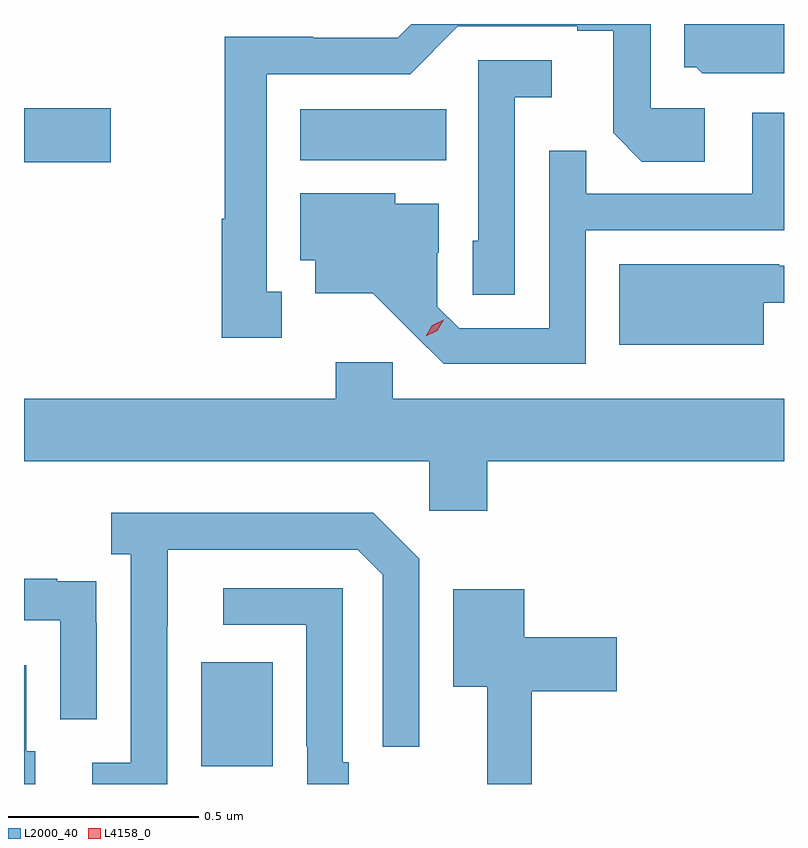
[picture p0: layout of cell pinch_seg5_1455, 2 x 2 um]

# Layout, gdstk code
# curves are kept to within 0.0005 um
import gdstk
lib = gdstk.Library(unit=1e-6, precision=1e-09)
def R(c, l, rs):  # rectangles x0, y0, x1, y1
    for r in rs: c.add(gdstk.rectangle(r[:2], r[2:], *l))
def P(c, l, *ps):  # polygons
    for p in ps: c.add(gdstk.Polygon(p, *l))
L2000_40 = (2000, 40)
L4158_0 = (4158, 0)

pinch_seg5_1455 = lib.new_cell('pinch_seg5_1455')
R(pinch_seg5_1455, L2000_40, [(159.089,910.569,159.277,910.843), (158.623,912.158,158.851,912.3), (159.35,912.164,159.734,912.298)])
P(pinch_seg5_1455, L2000_40, [(160.542,912.393),(160.623,912.393),(160.623,912.522),(160.361,912.522),(160.361,912.408),(160.392,912.408),(160.408,912.392),(160.542,912.392)],
  [(159.301,911.817),(159.262,911.817),(159.262,912.39),(159.639,912.39),(159.765,912.516),(160.079,912.516),(160.079,912.504),(160.173,912.504),(160.173,912.236),(160.249,912.16),(160.414,912.16),(160.414,912.3),(160.272,912.3),(160.272,912.522),(159.642,912.522),(159.606,912.486),(159.384,912.486),(159.384,912.488),(159.151,912.488),(159.151,912.009),(159.144,912.009),(159.144,911.697),(159.301,911.697)],
  [(159.915,912.329),(160.012,912.329),(160.012,912.426),(159.819,912.426),(159.819,911.952),(159.804,911.952),(159.804,911.809),(159.915,911.809)],
  [(160.101,911.979),(160.623,911.979),(160.623,912.289),(160.539,912.289),(160.539,912.075),(160.103,912.075),(160.103,912.188),(160.005,912.188),(160.005,911.721),(159.768,911.721),(159.711,911.778),(159.711,911.92),(159.715,911.92),(159.715,912.049),(159.6,912.049),(159.6,912.076),(159.35,912.076),(159.35,911.9),(159.389,911.9),(159.389,911.813),(159.541,911.813),(159.728,911.628),(160.101,911.628)],
  [(160.57,911.789),(160.623,911.789),(160.623,911.886),(160.61,911.886),(160.61,911.89),(160.19,911.89),(160.19,911.678),(160.57,911.678)],
  [(159.842,911.372),(160.623,911.372),(160.623,911.536),(159.594,911.536),(159.594,911.632),(159.443,911.632),(159.443,911.536),(158.623,911.536),(158.623,911.372),(159.69,911.372),(159.69,911.241),(159.842,911.241)],
  [(159,910.939),(159.001,910.939),(159.001,911.139),(159.501,911.139),(159.567,911.073),(159.567,910.62),(159.663,910.62),(159.663,911.115),(159.542,911.236),(158.853,911.236),(158.853,911.126),(158.904,911.126),(158.904,910.578),(158.802,910.578),(158.802,910.522),(159,910.522)],
  [(158.814,910.946),(158.813,910.946),(158.813,911.055),(158.711,911.055),(158.711,911.062),(158.623,911.062),(158.623,910.953),(158.718,910.953),(158.718,910.692),(158.814,910.692)],
  [(159.477,910.579),(159.462,910.579),(159.462,911.037),(159.147,911.037),(159.147,910.941),(159.366,910.941),(159.366,910.621),(159.369,910.621),(159.369,910.522),(159.477,910.522)],
  [(159.959,910.766),(160.183,910.766),(160.183,910.908),(159.94,910.908),(159.94,911.035),(159.752,911.035),(159.752,910.778),(159.842,910.778),(159.842,910.522),(159.959,910.522)],
  [(158.653,910.608),(158.629,910.608),(158.629,910.834),(158.623,910.834),(158.623,910.522),(158.653,910.522)])
P(pinch_seg5_1455, L4158_0, [(159.68,911.7),(159.68,911.7),(159.697,911.729),(159.728,911.744),(159.728,911.744),(159.728,911.744),(159.711,911.715),(159.68,911.7)])

lib.write_gds('pinch_seg5_1455.gds')
